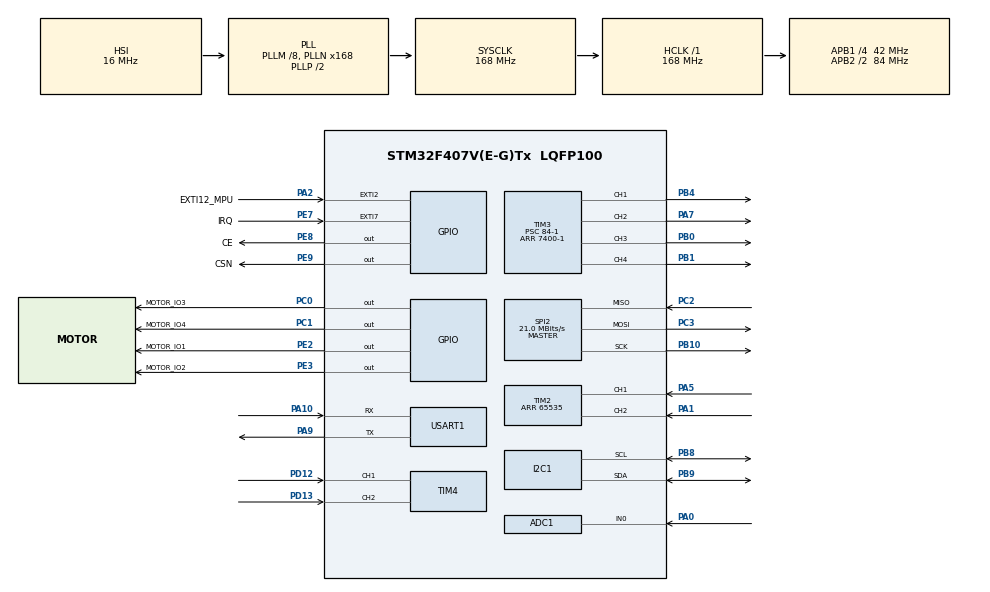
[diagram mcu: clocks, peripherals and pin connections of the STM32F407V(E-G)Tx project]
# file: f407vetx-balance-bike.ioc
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ADC1.Channel-0\#ChannelRegularConversion=ADC_CHANNEL_0
ADC1.NbrOfConversionFlag=1
ADC1.Rank-0\#ChannelRegularConversion=1
ADC1.SamplingTime-0\#ChannelRegularConversion=ADC_SAMPLETIME_3CYCLES
ADC1.master=1
FREERTOS.Tasks01=defaultTask,24,128,StartDefaultTask,Default,NULL,Dynamic,NULL,NULL
Mcu.Family=STM32F4
Mcu.Name=STM32F407V(E-G)Tx
Mcu.Package=LQFP100
NVIC.EXTI2_IRQn=true\:5\:0\:false\:false\:true\:true\:true\:true\:true
NVIC.EXTI9_5_IRQn=true\:5\:0\:false\:false\:true\:true\:true\:true\:true
NVIC.PriorityGroup=NVIC_PRIORITYGROUP_4
NVIC.TIM1_UP_TIM10_IRQn=true\:15\:0\:false\:false\:true\:false\:false\:true\:true
NVIC.TIM2_IRQn=true\:5\:0\:false\:false\:true\:true\:true\:true\:true
NVIC.TIM4_IRQn=true\:5\:0\:false\:false\:true\:true\:true\:true\:true
NVIC.TimeBase=TIM1_UP_TIM10_IRQn
NVIC.TimeBaseIP=TIM1
PA0-WKUP.Signal=ADCx_IN0
PA1.Signal=S_TIM2_CH2
PA10.Mode=Asynchronous
PA10.Signal=USART1_RX
PA13.Mode=Serial_Wire
PA13.Signal=SYS_JTMS-SWDIO
PA14.Mode=Serial_Wire
PA14.Signal=SYS_JTCK-SWCLK
PA2.GPIO_Label=EXTI12_MPU
PA2.Signal=GPXTI2
PA5.Signal=S_TIM2_CH1_ETR
PA7.Signal=S_TIM3_CH2
PA9.Mode=Asynchronous
PA9.Signal=USART1_TX
PB0.Signal=S_TIM3_CH3
PB1.Signal=S_TIM3_CH4
PB10.Mode=Full_Duplex_Master
PB10.Signal=SPI2_SCK
PB4.Signal=S_TIM3_CH1
PB8.Mode=I2C
PB8.Signal=I2C1_SCL
PB9.Mode=I2C
PB9.Signal=I2C1_SDA
PC0.GPIO_Label=MOTOR_IO3
PC0.Signal=GPIO_Output
PC1.GPIO_Label=MOTOR_IO4
PC1.Signal=GPIO_Output
PC2.Mode=Full_Duplex_Master
PC2.Signal=SPI2_MISO
PC3.Mode=Full_Duplex_Master
PC3.Signal=SPI2_MOSI
PD12.Signal=S_TIM4_CH1
PD13.Signal=S_TIM4_CH2
PE2.GPIO_Label=MOTOR_IO1
PE2.Signal=GPIO_Output
PE3.GPIO_Label=MOTOR_IO2
PE3.Signal=GPIO_Output
PE7.GPIO_Label=IRQ
PE7.Signal=GPXTI7
PE8.GPIO_Label=CE
PE8.Signal=GPIO_Output
PE9.GPIO_Label=CSN
PE9.Signal=GPIO_Output
PH0-OSC_IN.Mode=HSE-External-Oscillator
PH0-OSC_IN.Signal=RCC_OSC_IN
PH1-OSC_OUT.Mode=HSE-External-Oscillator
PH1-OSC_OUT.Signal=RCC_OSC_OUT
ProjectManager.HeapSize=0x200
ProjectManager.StackSize=0x400
ProjectManager.TargetToolchain=Makefile
RCC.48MHZClocksFreq_Value=84000000
RCC.AHBFreq_Value=168000000
RCC.APB1CLKDivider=RCC_HCLK_DIV4
RCC.APB1Freq_Value=42000000
RCC.APB1TimFreq_Value=84000000
RCC.APB2CLKDivider=RCC_HCLK_DIV2
RCC.APB2Freq_Value=84000000
RCC.APB2TimFreq_Value=168000000
RCC.CortexFreq_Value=168000000
RCC.HCLKFreq_Value=168000000
RCC.HSE_VALUE=8000000
RCC.HSI_VALUE=16000000
RCC.LSE_VALUE=32768
RCC.PLLM=8
RCC.PLLN=168
RCC.SYSCLKFreq_VALUE=168000000
RCC.SYSCLKSource=RCC_SYSCLKSOURCE_PLLCLK
RCC.VCOOutputFreq_Value=336000000
SH.ADCx_IN0.0=ADC1_IN0,IN0
SH.S_TIM2_CH1_ETR.0=TIM2_CH1,Encoder_Interface
SH.S_TIM2_CH2.0=TIM2_CH2,Encoder_Interface
SH.S_TIM3_CH1.0=TIM3_CH1,PWM Generation1 CH1
SH.S_TIM3_CH2.0=TIM3_CH2,PWM Generation2 CH2
SH.S_TIM3_CH3.0=TIM3_CH3,PWM Generation3 CH3
SH.S_TIM3_CH4.0=TIM3_CH4,PWM Generation4 CH4
SH.S_TIM4_CH1.0=TIM4_CH1,Encoder_Interface
SH.S_TIM4_CH2.0=TIM4_CH2,Encoder_Interface
SPI2.CalculateBaudRate=21.0 MBits/s
SPI2.Direction=SPI_DIRECTION_2LINES
SPI2.Mode=SPI_MODE_MASTER
SPI2.VirtualType=VM_MASTER
TIM2.EncoderMode=TIM_ENCODERMODE_TI12
TIM2.IC1Filter=6
TIM2.Period=65535
TIM3.Channel-PWM\ Generation1\ CH1=TIM_CHANNEL_1
TIM3.Channel-PWM\ Generation2\ CH2=TIM_CHANNEL_2
TIM3.Channel-PWM\ Generation3\ CH3=TIM_CHANNEL_3
TIM3.Channel-PWM\ Generation4\ CH4=TIM_CHANNEL_4
TIM3.Period=7400-1
TIM3.Prescaler=84-1
TIM4.EncoderMode=TIM_ENCODERMODE_TI12
TIM4.IC1Filter=6
USART1.VirtualMode=VM_ASYNC
VP_FREERTOS_VS_CMSIS_V2.Mode=CMSIS_V2
VP_SYS_VS_tim1.Mode=TIM1
VP_TIM3_VS_ClockSourceINT.Mode=Internal
board=custom

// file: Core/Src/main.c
/* USER CODE BEGIN Header */
/**
  ******************************************************************************
  * @file           : main.c
  * @brief          : Main program body
  ******************************************************************************
  * @attention
  *
  * Copyright (c) 2025 STMicroelectronics.
  * All rights reserved.
  *
  * This software is licensed under terms that can be found in the LICENSE file
  * in the root directory of this software component.
  * If no LICENSE file comes with this software, it is provided AS-IS.
  *
  ******************************************************************************
  */
/* USER CODE END Header */
#include "main.h"
#include "cmsis_os.h"
#include "adc.h"
#include "i2c.h"
#include "spi.h"
#include "tim.h"
#include "usart.h"
#include "gpio.h"

void SystemClock_Config(void);
void MX_FREERTOS_Init(void);

int main(void)
{

  /* MCU Configuration--------------------------------------------------------*/

  /* Reset of all peripherals, Initializes the Flash interface and the Systick. */
  HAL_Init();

  /* Configure the system clock */
  SystemClock_Config();

  /* Initialize all configured peripherals */
  MX_GPIO_Init();
  MX_I2C1_Init();
  MX_USART1_UART_Init();
  MX_SPI2_Init();
  MX_ADC1_Init();
  MX_TIM2_Init();
  MX_TIM3_Init();
  MX_TIM4_Init();

  /* Init scheduler */
  osKernelInitialize();

  /* Call init function for freertos objects (in cmsis_os2.c) */
  MX_FREERTOS_Init();

  /* Start scheduler */
  osKernelStart();

  /* We should never get here as control is now taken by the scheduler */

  /* Infinite loop */
  while (1)
  {

  }
}

void SystemClock_Config(void)
{
  RCC_OscInitTypeDef RCC_OscInitStruct = {0};
  RCC_ClkInitTypeDef RCC_ClkInitStruct = {0};

  /** Configure the main internal regulator output voltage
  */
  __HAL_RCC_PWR_CLK_ENABLE();
  __HAL_PWR_VOLTAGESCALING_CONFIG(PWR_REGULATOR_VOLTAGE_SCALE1);

  /** Initializes the RCC Oscillators according to the specified parameters
  * in the RCC_OscInitTypeDef structure.
  */
  RCC_OscInitStruct.OscillatorType = RCC_OSCILLATORTYPE_HSI;
  RCC_OscInitStruct.HSIState = RCC_HSI_ON;
  RCC_OscInitStruct.HSICalibrationValue = RCC_HSICALIBRATION_DEFAULT;
  RCC_OscInitStruct.PLL.PLLState = RCC_PLL_ON;
  RCC_OscInitStruct.PLL.PLLSource = RCC_PLLSOURCE_HSI;
  RCC_OscInitStruct.PLL.PLLM = 8;
  RCC_OscInitStruct.PLL.PLLN = 168;
  RCC_OscInitStruct.PLL.PLLP = RCC_PLLP_DIV2;
  RCC_OscInitStruct.PLL.PLLQ = 4;
  if (HAL_RCC_OscConfig(&RCC_OscInitStruct) != HAL_OK)
  {
    Error_Handler();
  }

  /** Initializes the CPU, AHB and APB buses clocks
  */
  RCC_ClkInitStruct.ClockType = RCC_CLOCKTYPE_HCLK|RCC_CLOCKTYPE_SYSCLK
                              |RCC_CLOCKTYPE_PCLK1|RCC_CLOCKTYPE_PCLK2;
  RCC_ClkInitStruct.SYSCLKSource = RCC_SYSCLKSOURCE_PLLCLK;
  RCC_ClkInitStruct.AHBCLKDivider = RCC_SYSCLK_DIV1;
  RCC_ClkInitStruct.APB1CLKDivider = RCC_HCLK_DIV4;
  RCC_ClkInitStruct.APB2CLKDivider = RCC_HCLK_DIV2;

  if (HAL_RCC_ClockConfig(&RCC_ClkInitStruct, FLASH_LATENCY_5) != HAL_OK)
  {
    Error_Handler();
  }
}

void HAL_TIM_PeriodElapsedCallback(TIM_HandleTypeDef *htim)
{
  if (htim->Instance == TIM1)
  {
    HAL_IncTick();
  }
}

void Error_Handler(void)
{
  __disable_irq();
  while (1)
  {
  }
}

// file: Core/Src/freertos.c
/* USER CODE BEGIN Header */
/**
  ******************************************************************************
  * File Name          : freertos.c
  * Description        : Code for freertos applications
  ******************************************************************************
  * @attention
  *
  * Copyright (c) 2025 STMicroelectronics.
  * All rights reserved.
  *
  * This software is licensed under terms that can be found in the LICENSE file
  * in the root directory of this software component.
  * If no LICENSE file comes with this software, it is provided AS-IS.
  *
  ******************************************************************************
  */
/* USER CODE END Header */

#include "FreeRTOS.h"
#include "task.h"
#include "main.h"
#include "cmsis_os.h"

/* USER CODE BEGIN Includes */
#include "tasks.h"
/* USER CODE END Includes */

/* USER CODE BEGIN Variables */
osThreadId_t balanceTaskHandle;
const osThreadAttr_t balanceTask_attributes={
  .name="balanceTask",
  .stack_size=128*8,
  .priority=(osPriority_t) osPriorityNormal1,
};

osThreadId_t oledTaskHandle;
const osThreadAttr_t oledTask_attributes={
  .name="oledTask",
  .stack_size=128*4,
  .priority=(osPriority_t) osPriorityNormal,
};
osMutexId_t i2cBusyMutex;
osSemaphoreId_t mpu6050DataReadySemaphore;
osEventFlagsId_t event;

/* USER CODE END Variables */
/* Definitions for defaultTask */
osThreadId_t defaultTaskHandle;
const osThreadAttr_t defaultTask_attributes = {
  .name = "defaultTask",
  .stack_size = 128 * 4,
  .priority = (osPriority_t) osPriorityNormal,
};

void StartDefaultTask(void *argument);

void MX_FREERTOS_Init(void); /* (MISRA C 2004 rule 8.1) */

void MX_FREERTOS_Init(void) {

  /* USER CODE BEGIN RTOS_MUTEX */
  /* add mutexes, ... */
  i2cBusyMutex = osMutexNew(NULL);
  /* USER CODE END RTOS_MUTEX */

  /* Create the thread(s) */
  /* creation of defaultTask */
  defaultTaskHandle = osThreadNew(StartDefaultTask, NULL, &defaultTask_attributes);

  /* USER CODE BEGIN RTOS_THREADS */
  /* add threads, ... */
  oledTaskHandle=osThreadNew(oled_task,NULL,&oledTask_attributes);
  balanceTaskHandle=osThreadNew(balance_task,NULL,&balanceTask_attributes);

  /* USER CODE END RTOS_THREADS */

  /* USER CODE BEGIN RTOS_EVENTS */
  /* add events, ... */
   event = osEventFlagsNew(NULL);
  /* USER CODE END RTOS_EVENTS */

}

void StartDefaultTask(void *argument)
{
  for(;;)
  {
    osDelay(1);
  }
}
